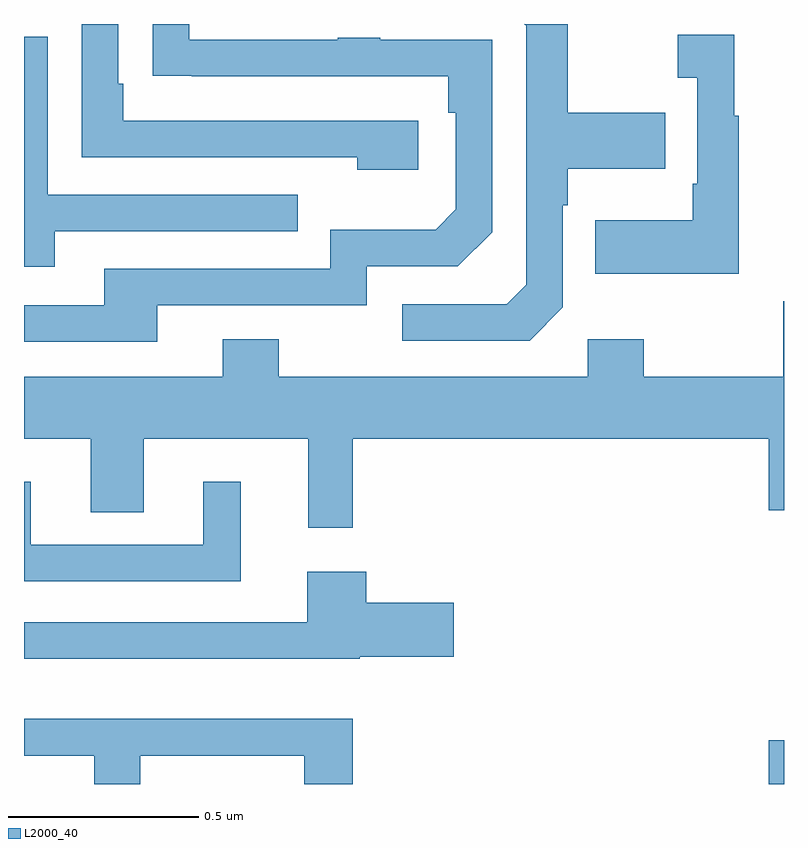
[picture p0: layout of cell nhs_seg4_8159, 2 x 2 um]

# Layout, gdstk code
import gdstk
lib = gdstk.Library(unit=1e-6, precision=1e-09)
def R(c, l, rs):  # rectangles x0, y0, x1, y1
    for r in rs: c.add(gdstk.rectangle(r[:2], r[2:], *l))
def P(c, l, *ps):  # polygons
    for p in ps: c.add(gdstk.Polygon(p, *l))
L2000_40 = (2000, 40)

nhs_seg4_8159 = lib.new_cell('nhs_seg4_8159')
R(nhs_seg4_8159, L2000_40, [(212.96,807.9,213,808.015)])
P(nhs_seg4_8159, L2000_40, [(211.351,809.16),(211.902,809.16),(211.902,809.262),(212.142,809.262),(212.232,809.352),(212.232,809.859),(211.937,809.859),(211.937,809.864),(211.825,809.864),(211.825,809.859),(211.435,809.859),(211.435,809.9),(211.339,809.9),(211.339,809.764),(211.441,809.764),(211.441,809.763),(212.116,809.763),(212.116,809.666),(212.136,809.666),(212.136,809.412),(212.083,809.359),(211.806,809.359),(211.806,809.256),(211.211,809.256),(211.211,809.16),(211,809.16),(211,809.064),(211.351,809.064)],
  [(212.038,809.646),(211.261,809.646),(211.261,809.743),(211.248,809.743),(211.248,809.9),(211.152,809.9),(211.152,809.55),(211.877,809.55),(211.877,809.516),(212.038,809.516)],
  [(212.418,809.154),(212.418,809.423),(212.431,809.423),(212.431,809.519),(212.687,809.519),(212.687,809.667),(212.431,809.667),(212.431,809.9),(212.317,809.9),(212.322,809.895),(212.322,809.214),(212.271,809.163),(211.995,809.163),(211.995,809.067),(212.331,809.067)],
  [(212.881,809.659),(212.869,809.659),(212.869,809.872),(212.721,809.872),(212.721,809.759),(212.772,809.759),(212.772,809.479),(212.76,809.479),(212.76,809.383),(212.503,809.383),(212.503,809.243),(212.881,809.243)],
  [(211.081,809.355),(211.721,809.355),(211.721,809.451),(211.062,809.451),(211.062,809.867),(211,809.867),(211,809.261),(211.081,809.261)],
  [(211.523,809.071),(211.523,808.972),(211,808.972),(211,808.808),(211.175,808.808),(211.175,808.615),(211.315,808.615),(211.315,808.808),(211.748,808.808),(211.748,808.575),(211.865,808.575),(211.865,808.808),(212.96,808.808),(212.96,808.62),(213,808.62),(213,809.171),(212.998,809.171),(212.998,808.972),(212.631,808.972),(212.631,809.071),(212.484,809.071),(212.484,808.972),(211.671,808.972),(211.671,809.071)],
  [(211.571,808.696),(211.472,808.696),(211.472,808.53),(211.018,808.53),(211.018,808.696),(211,808.696),(211,808.434),(211.571,808.434)],
  [(211.884,808.235),(212.131,808.235),(212.131,808.377),(211.901,808.377),(211.901,808.459),(211.745,808.459),(211.745,808.326),(211,808.326),(211,808.229),(211.884,808.229)],
  [(211.306,807.974),(211.737,807.974),(211.737,807.9),(211.865,807.9),(211.865,808.072),(211,808.072),(211,807.974),(211.185,807.974),(211.185,807.9),(211.306,807.9)])

lib.write_gds('nhs_seg4_8159.gds')
